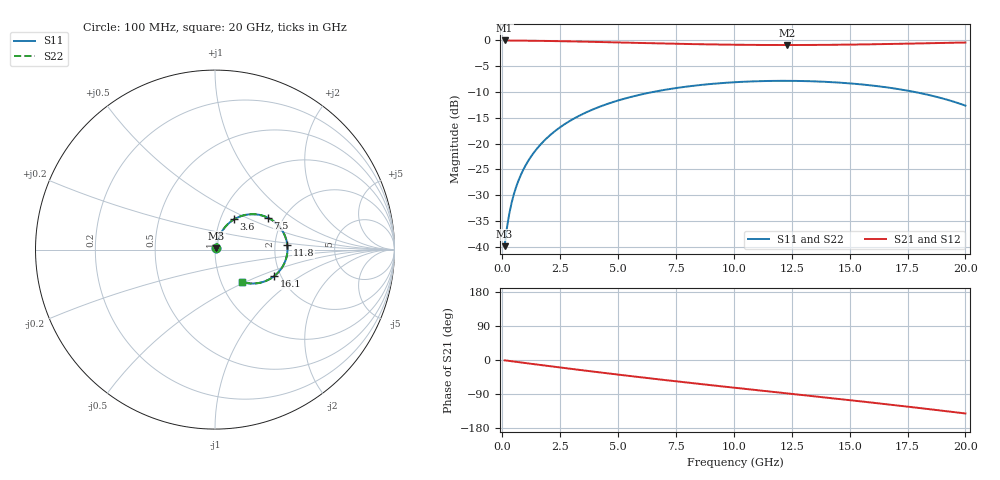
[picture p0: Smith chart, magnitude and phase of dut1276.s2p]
! Touchstone file exported from HFSS 2026.1.0
!  File:  C:/ffzhzh/LocalFiles/Ansys_Project_Files/temp_train_TSV_RDL_1276_1783329767_5512.aedt
!  Generated:  05:34:36 PM Jul  6, 2026
!  Design:  TSV_RDL
!  Project:  temp_train_TSV_RDL_1276_1783329767_5512
! Variables:
!  h_bsmrdl = 2.75um
!  h_ox = 20um
!  h_rdl = 5um
!  h_sub = 97.81um
!  h_tmrdl = 5.43um
!  h_tsv = 97.81um
!  h_via = 3um
!  l_bsmrdl = 287.37um
!  l_sub = 2187.72um
!  l_tmrdl = 191.78um
!  m_sub = 200um
!  pitch = 52.71um
!  r_tsv = 10.66um
!  s_tmrdl = 10um
!  w_bsmrdl = 25.3um
!  w_sub = 500um
!  w_tmrdl = 27.53um
!  x_tsv_center1 = 205.545um
!  x_tsv_center2 = 518.215um
!  x_tsv_center3 = 737.525um
!  x_tsv_center4 = 1050.195um
!  x_tsv_center5 = 1269.505um
!  x_tsv_center6 = 1582.175um
# GHz S MA R 50.000000
! Terminal data exported
! Port[1] = TM_RDL1_1_T1
! Port[2] = TM_RDL5_1_T1
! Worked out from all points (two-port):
!   200 points, 100 MHz to 20 GHz, reference 50 ohm
!   highest |S21| = -0.07 dB at 100 MHz (marker M1); lowest = -1.0 dB at 12.3 GHz (marker M2)
!   |S21| within 3 dB of the highest: start of sweep to end of sweep
!   lowest |S11| = -39.8 dB at 100 MHz (marker M3), VSWR 1.02, Z = 50.8 + j0.662 ohm
!   |S11| at or under -10 dB: start of sweep to 6.542 GHz; 17.78 GHz to end of sweep
!   |S22| runs from -39.8 to -7.9 dB; largest |S21 - S12| = 2.7e-13
!   S11 on the Smith chart (normalised r, x): 100 MHz: 1.02, +0.01; 3.6 GHz: 1.16, +0.41; 7.5 GHz: 1.66, +0.67; 11.8 GHz: 2.34, +0.13; 16.1 GHz: 1.84, -0.63; 20 GHz: 1.25, -0.47
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0.1  0.01018 39.8  0.9923 -0.8  0.9923 -0.8  0.01018 39.8
! Gamma 0 0 0 0
! Port Impedance 50 0 50 0
0.2  0.01529 56.2  0.9918 -1.7  0.9918 -1.7  0.01529 56.2
0.3  0.02089 63.5  0.9913 -2.5  0.9913 -2.5  0.02089 63.5
0.5  0.0324 69.5  0.9904 -4.1  0.9904 -4.1  0.0324 69.5
0.8  0.04969 72.0  0.9889 -6.5  0.9889 -6.5  0.04969 72.0
1.1  0.06683 72.1  0.9872 -8.8  0.9872 -8.8  0.06683 72.1
1.6  0.095 70.3  0.9841 -12.8  0.9841 -12.8  0.095 70.3
2.1  0.1225 67.6  0.9803 -16.7  0.9803 -16.7  0.1225 67.6
2.7  0.1543 63.8  0.975 -21.3  0.975 -21.3  0.1543 63.8
3.5  0.1943 58.5  0.9668 -27.4  0.9668 -27.4  0.1943 58.5
3.6  0.1991 57.8  0.9657 -28.2  0.9657 -28.2  0.1991 57.8
5  0.2608 48.1  0.9497 -38.5  0.9497 -38.5  0.2608 48.1
6.8  0.3242 35.8  0.929 -51.4  0.929 -51.4  0.3242 35.8
7.5  0.3439 31.2  0.9218 -56.2  0.9218 -56.2  0.3439 31.2
10.1  0.3924 14.2  0.9018 -73.7  0.9018 -73.7  0.3924 14.2
11.8  0.4037 3.4  0.8964 -84.8  0.8964 -84.8  0.4037 3.4
12.3  0.404 0.2  0.8962 -88.1  0.8962 -88.1  0.404 0.2
13.4  0.3998 -6.8  0.8976 -95.3  0.8976 -95.3  0.3998 -6.8
16.1  0.3611 -24.2  0.9121 -113.4  0.9121 -113.4  0.3611 -24.2
16.7  0.3469 -28.2  0.917 -117.5  0.917 -117.5  0.3469 -28.2
18.5  0.292 -40.2  0.9338 -130.2  0.9338 -130.2  0.2921 -40.2
20  0.2327 -50.4  0.9482 -141.1  0.9482 -141.1  0.2327 -50.4
